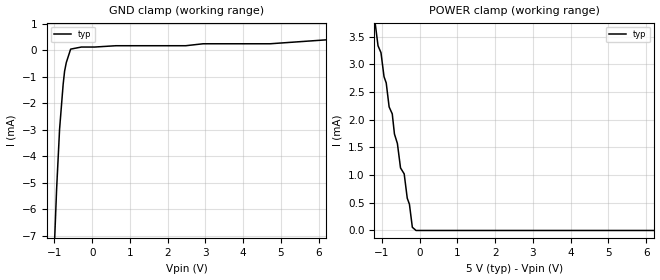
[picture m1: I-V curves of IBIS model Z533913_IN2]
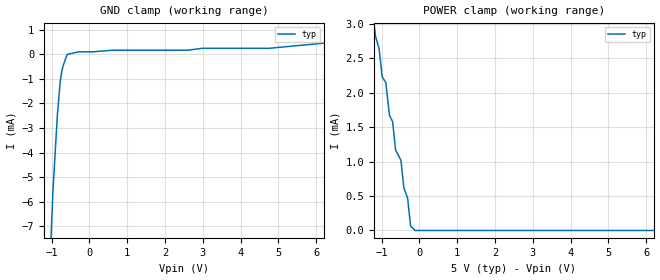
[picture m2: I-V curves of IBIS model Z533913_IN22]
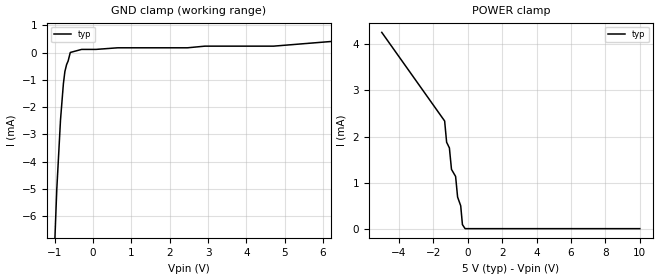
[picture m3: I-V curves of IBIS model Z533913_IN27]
| YOU ARE ONLY AUTHORIZED TO USE THIS SOFTWARE
| ACCORDING TO LICENSOR'S LICENSE RESTRICTIONS.
[IBIS Ver] 3.1
[File Name] mc10e256fn_pecl.ibs
[File Rev] 2.0
[Source] Measured and created by ICX Technology
[Date] Friday 7/14/00 9:07:49 AM
[Copyright]
| (C) COPYRIGHT 1993-2000
| MENTOR GRAPHICS CORPORATION
| ICX STANDARD LIBRARY, ICX PROJECT MODELING,
| ICX CUSTOM MODELING, ICX VENDOR MODEL
| ALL RIGHTS RESERVED.
| THE FOLLOWING ARE TRADEMARKS OR SERVICE MARKS OF
| MENTOR GRAPHICS CORPORATION:ICX (R), ICX STANDARD
| LIBRARY(R), ICX PROJECT MODELING(R), ICX CUSTOM
| MODELING(R), qualityIBIS(TM), MODELVIEWER(TM),
| AND MODELEDITOR(TM)
| ALL COPIES OF SOFTWARE, INCLUDING BUT NOT LIMITED TO
| ANY MODIFICATIONS, ENHANCEMENTS OR DERIVATIVE WORKS,
| MUST CONTAIN ALL MENTOR GRAPHICS CORPORATION'S
| NOTICES AND LEGENDS, INCLUDING THOSE EMBEDDED IN
| SOFTWARE AND THOSE AFFIXED TO SOFTWARE MEDIUM
| AND CONTAINER, AS RECEIVED FROM MENTOR GRAPHICS
| CORPORATION.
|  ZAP Model Builder 2.7
[Component] MC10E256FN_PECL
[Manufacturer] OnSemiconductor
[Package]
| variable   typ   min   max
R_pkg  .083ohms NA NA
L_pkg  4.299nH NA NA
C_pkg  1.045pF NA NA
[Pin] signal_name  model_name  R_pin  L_pin C_pin
1 VEE POWER .08 3.94n .925p
2 LEN Z533913_IN2 .082 4.14n .995p
3 MR Z533913_IN3 .084 4.354n 1.065p
4 D1C Z533913_IN22 .086 4.583n 1.135p
5 D1D Z533913_IN22 .086 4.583n 1.135p
6 D0A Z533913_IN22 .084 4.354n 1.065p
7 D0B Z533913_IN22 .082 4.14n .995p
8 D0C Z533913_IN22 .08 3.94n .925p
9 D0D Z533913_IN22 .082 4.14n .995p
10 VCCO POWER .084 4.354n 1.065p
11 Q0 Z533913_OUT14 .086 4.583n 1.135p
12 _Q0 Z533913_OUT14 .086 4.583n 1.135p
13 VCCO POWER .084 4.354n 1.065p
14 Q1 Z533913_OUT14 .082 4.14n .995p
15 _Q1 Z533913_OUT17 .08 3.94n .925p
16 VCC POWER .082 4.14n .995p
17 Q2 Z533913_OUT17 .084 4.354n 1.065p
18 _Q2 Z533913_OUT17 .086 4.583n 1.135p
19 VCCO POWER .086 4.583n 1.135p
20 D2A Z533913_IN22 .084 4.354n 1.065p
21 D2B Z533913_IN22 .082 4.14n .995p
22 D2C Z533913_IN22 .08 3.94n .925p
23 D2D Z533913_IN22 .082 4.14n .995p
24 D1A Z533913_IN22 .084 4.354n 1.065p
25 D1B Z533913_IN22 .086 4.583n 1.135p
26 SEL1A Z533913_IN27 .086 4.583n 1.135p
27 SEL1B Z533913_IN27 .084 4.354n 1.065p
28 SEL2 Z533913_IN28 .082 4.14n .995p
| Models and submodels in the file (7): Z533913_IN2 (Input_ECL), Z533913_IN22 (Input_ECL), Z533913_IN27 (Input_ECL), Z533913_IN28 (Input_ECL), Z533913_IN3 (Input_ECL), Z533913_OUT14 (Output_ECL), Z533913_OUT17 (Output_ECL)
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| (C) COPYRIGHT 1993-2000
| MENTOR GRAPHICS CORPORATION
| ICX STANDARD LIBRARY, ICX PROJECT MODELING,
| ICX CUSTOM MODELING, ICX VENDOR MODEL
| ALL RIGHTS RESERVED.
| THE FOLLOWING ARE TRADEMARKS OR SERVICE MARKS OF
| MENTOR GRAPHICS CORPORATION:ICX (R), ICX STANDARD
| LIBRARY(R), ICX PROJECT MODELING(R), ICX CUSTOM
| MODELING(R), qualityIBIS(TM), MODELVIEWER(TM),
| AND MODELEDITOR(TM)
| ALL COPIES OF SOFTWARE, INCLUDING BUT NOT LIMITED TO
| ANY MODIFICATIONS, ENHANCEMENTS OR DERIVATIVE WORKS,
| MUST CONTAIN ALL MENTOR GRAPHICS CORPORATION'S
| NOTICES AND LEGENDS, INCLUDING THOSE EMBEDDED IN
| SOFTWARE AND THOSE AFFIXED TO SOFTWARE MEDIUM
| AND CONTAINER, AS RECEIVED FROM MENTOR GRAPHICS
| CORPORATION.
| Model Application Version 1.89 2/18/99.
[Model] Z533913_IN2
Model_type Input_ECL
Vinl = 3.520V
Vinh = 3.830V
C_comp 4.000pF NA NA
| variable typ   min   max
[Voltage Range] 5.000V NA NA
[GND Clamp Reference] 0.000V NA NA
[POWER Clamp Reference] 5.000V NA NA
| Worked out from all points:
|   GND clamp passes 1 mA (typ) near -0.75 V on its own axis
|   POWER clamp passes 1 mA (typ) near -0.41 V on its own axis
[GND Clamp]
-5V       -285.4mA   NA         NA
-1.038V   -8.716mA   NA         NA
-943.2mV  -5.249mA   NA         NA
-864.1mV  -2.973mA   NA         NA
-769.9mV  -1.288mA   NA         NA
-731.6mV  -789.2uA   NA         NA
-686.6mV  -463.2uA   NA         NA
-571.1mV  45.42uA    NA         NA
-285.5mV  124.1uA    NA         NA
626.3mV   173.3uA    NA         NA
4.713V    247.5uA    NA         NA
10V       773.4uA    NA         NA
[POWER Clamp]
-5V       28.4mA     NA         NA
-1.182V   3.755mA    NA         NA
-1.026V   3.211mA    NA         NA
-810mV    2.23mA     NA         NA
-727mV    2.105mA    NA         NA
-669mV    1.741mA    NA         NA
-591mV    1.57mA     NA         NA
-508mV    1.129mA    NA         NA
-411mV    1.022mA    NA         NA
-195mV    57.82uA    NA         NA
-97.5mV   0A         NA         NA
10V       0A         NA         NA
| (C) COPYRIGHT 1993-2000
| MENTOR GRAPHICS CORPORATION
| ICX STANDARD LIBRARY, ICX PROJECT MODELING,
| ICX CUSTOM MODELING, ICX VENDOR MODEL
| ALL RIGHTS RESERVED.
| THE FOLLOWING ARE TRADEMARKS OR SERVICE MARKS OF
| MENTOR GRAPHICS CORPORATION:ICX (R), ICX STANDARD
| LIBRARY(R), ICX PROJECT MODELING(R), ICX CUSTOM
| MODELING(R), qualityIBIS(TM), MODELVIEWER(TM),
| AND MODELEDITOR(TM)
| ALL COPIES OF SOFTWARE, INCLUDING BUT NOT LIMITED TO
| ANY MODIFICATIONS, ENHANCEMENTS OR DERIVATIVE WORKS,
| MUST CONTAIN ALL MENTOR GRAPHICS CORPORATION'S
| NOTICES AND LEGENDS, INCLUDING THOSE EMBEDDED IN
| SOFTWARE AND THOSE AFFIXED TO SOFTWARE MEDIUM
| AND CONTAINER, AS RECEIVED FROM MENTOR GRAPHICS
| CORPORATION.
| Model Application Version 1.89 2/18/99.
[Model] Z533913_IN22
Model_type Input_ECL
Vinl = 3.520V
Vinh = 3.830V
C_comp 4.000pF NA NA
| variable typ   min   max
[Voltage Range] 5.000V NA NA
[GND Clamp Reference] 0.000V NA NA
[POWER Clamp Reference] 5.000V NA NA
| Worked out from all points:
|   GND clamp passes 1 mA (typ) near -0.76 V on its own axis
|   POWER clamp passes 1 mA (typ) near -0.48 V on its own axis
[GND Clamp]
-5V       -300.1mA   NA         NA
-1.057V   -9.058mA   NA         NA
-963.6mV  -5.548mA   NA         NA
-844.9mV  -2.424mA   NA         NA
-770.5mV  -1.102mA   NA         NA
-731.5mV  -679.7uA   NA         NA
-590.5mV  -5.235uA   NA         NA
-295.2mV  102uA      NA         NA
645.1mV   171.5uA    NA         NA
2.606V    171.5uA    NA         NA
4.756V    247.3uA    NA         NA
10V       1.006mA    NA         NA
[POWER Clamp]
-5V       10.58mA    NA         NA
-1.245V   3.23mA     NA         NA
-1.066V   2.641mA    NA         NA
-985mV    2.233mA    NA         NA
-888mV    2.146mA    NA         NA
-791mV    1.672mA    NA         NA
-708mV    1.581mA    NA         NA
-630mV    1.167mA    NA         NA
-489mV    1.021mA    NA         NA
-233mV    63.8uA     NA         NA
-116.5mV  0A         NA         NA
10V       0A         NA         NA
| (C) COPYRIGHT 1993-2000
| MENTOR GRAPHICS CORPORATION
| ICX STANDARD LIBRARY, ICX PROJECT MODELING,
| ICX CUSTOM MODELING, ICX VENDOR MODEL
| ALL RIGHTS RESERVED.
| THE FOLLOWING ARE TRADEMARKS OR SERVICE MARKS OF
| MENTOR GRAPHICS CORPORATION:ICX (R), ICX STANDARD
| LIBRARY(R), ICX PROJECT MODELING(R), ICX CUSTOM
| MODELING(R), qualityIBIS(TM), MODELVIEWER(TM),
| AND MODELEDITOR(TM)
| ALL COPIES OF SOFTWARE, INCLUDING BUT NOT LIMITED TO
| ANY MODIFICATIONS, ENHANCEMENTS OR DERIVATIVE WORKS,
| MUST CONTAIN ALL MENTOR GRAPHICS CORPORATION'S
| NOTICES AND LEGENDS, INCLUDING THOSE EMBEDDED IN
| SOFTWARE AND THOSE AFFIXED TO SOFTWARE MEDIUM
| AND CONTAINER, AS RECEIVED FROM MENTOR GRAPHICS
| CORPORATION.
| Model Application Version 1.89 2/18/99.
[Model] Z533913_IN27
Model_type Input_ECL
Vinl = 3.520V
Vinh = 3.830V
C_comp 4.000pF NA NA
| variable typ   min   max
[Voltage Range] 5.000V NA NA
[GND Clamp Reference] 0.000V NA NA
[POWER Clamp Reference] 5.000V NA NA
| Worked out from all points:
|   GND clamp passes 1 mA (typ) near -0.76 V on its own axis
|   POWER clamp passes 1 mA (typ) near -0.67 V on its own axis
[GND Clamp]
-5V       -297.6mA   NA         NA
-1.038V   -8.551mA   NA         NA
-943.3mV  -5.042mA   NA         NA
-845mV    -2.46mA    NA         NA
-770.3mV  -1.142mA   NA         NA
-731.4mV  -695uA     NA         NA
-686.8mV  -438.4uA   NA         NA
-590.4mV  6.781uA    NA         NA
-295.2mV  119.1uA    NA         NA
644.9mV   178uA      NA         NA
4.709V    238.6uA    NA         NA
10V       840.8uA    NA         NA
[POWER Clamp]
-5V       4.261mA    NA         NA
-1.345V   2.337mA    NA         NA
-1.23V    1.876mA    NA         NA
-1.069V   1.753mA    NA         NA
-947mV    1.287mA    NA         NA
-708mV    1.134mA    NA         NA
-592mV    685.9uA    NA         NA
-411mV    496.8uA    NA         NA
-311mV    87.46uA    NA         NA
-155.5mV  0A         NA         NA
10V       0A         NA         NA
